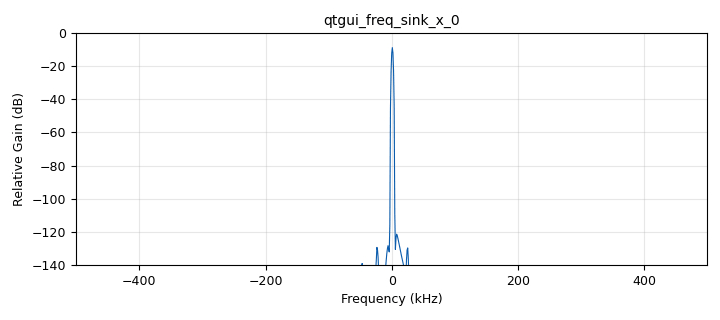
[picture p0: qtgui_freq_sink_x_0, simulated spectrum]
options:
  parameters:
    generate_options: qt_gui
    id: test_udp_sink_seq
    output_language: python
  states: {}

blocks:
- name: samp_rate
  id: variable
  parameters:
    value: 1e6
  states: {}
- name: analog_sig_source_x_0
  id: analog_sig_source_x
  parameters:
    amp: '1'
    freq: '1000'
    offset: '0'
    phase: '0'
    samp_rate: samp_rate
    type: complex
    waveform: analog.GR_COS_WAVE
  states: {}
- name: blocks_throttle_0
  id: blocks_throttle
  parameters:
    samples_per_second: samp_rate
    type: complex
  states: {}
- name: network_udp_sink_0
  id: network_udp_sink
  parameters:
    addr: 127.0.0.1
    header: '1'
    payloadsize: '1472'
    port: '2001'
    send_eof: 'False'
    type: complex
  states: {}
- name: qtgui_freq_sink_x_0
  id: qtgui_freq_sink_x
  parameters:
    bw: samp_rate
    fc: '0'
    fftsize: '1024'
    grid: 'True'
    showports: 'True'
    type: complex
    wintype: fft.window.WIN_BLACKMAN_hARRIS
    ymax: '0'
  states: {}

connections:
- [analog_sig_source_x_0, '0', blocks_throttle_0, '0']
- [blocks_throttle_0, '0', network_udp_sink_0, '0']
- [blocks_throttle_0, '0', qtgui_freq_sink_x_0, '0']

metadata:
  file_format: 1
